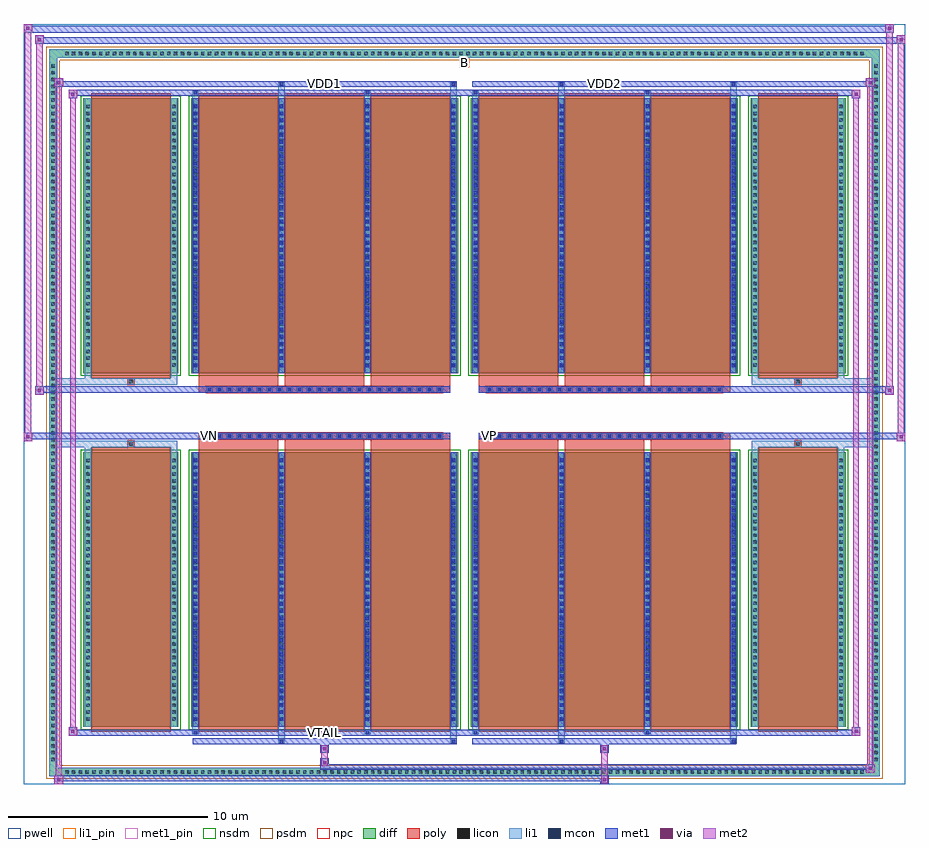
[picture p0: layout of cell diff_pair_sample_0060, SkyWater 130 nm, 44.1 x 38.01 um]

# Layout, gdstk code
import gdstk
lib = gdstk.Library(unit=1e-6, precision=5e-09)
def R(c, l, rs):  # rectangles x0, y0, x1, y1
    for r in rs: c.add(gdstk.rectangle(r[:2], r[2:], *l))
def A(c, l, x, y, w, h, nx, ny, dx, dy):  # array of equal rectangles
    R(c, l, [(x+i*dx, y+j*dy, x+i*dx+w, y+j*dy+h) for i in range(nx) for j in range(ny)])
def P(c, l, *ps):  # polygons
    for p in ps: c.add(gdstk.Polygon(p, *l))
pwell = (64, 44)
diff = (65, 20)
poly = (66, 20)
licon = (66, 44)
li1_pin = (67, 16)
li1 = (67, 20)
mcon = (67, 44)
met1_pin = (68, 16)
met1 = (68, 20)
via = (68, 44)
met2 = (69, 20)
nsdm = (93, 44)
psdm = (94, 20)
npc = (95, 20)

diff_pair_sample_0060 = lib.new_cell('diff_pair_sample_0060')
R(diff_pair_sample_0060, pwell, [(-22.05,-18.57,22.05,19.44), (-19.37,-16.76,-0.01,-0.8), (0.01,-16.76,19.37,-0.8), (-19.37,0.8,-0.01,16.76), (0.01,0.8,19.37,16.76)])
A(diff_pair_sample_0060, diff, -20.095, -18.17, 0.41, 0.41, 118, 2, 0.34, 35.93)
A(diff_pair_sample_0060, diff, -20.78, -17.545, 0.41, 0.41, 1, 103, 0, 0.34)
A(diff_pair_sample_0060, diff, 20.37, -17.545, 0.41, 0.41, 1, 103, 0, 0.34)
R(diff_pair_sample_0060, diff, [(-20.095,-18.17,20.095,-17.76), (-20.78,-17.545,-20.37,17.545), (20.37,-17.545,20.78,17.545), (-19.06,-15.715,-14.31,-1.985), (-13.67,-15.715,-0.32,-1.985), (0.32,-15.715,13.67,-1.985), (14.31,-15.715,19.06,-1.985), (-19.06,1.985,-14.31,15.715), (-13.67,1.985,-0.32,15.715), (0.32,1.985,13.67,15.715), (14.31,1.985,19.06,15.715), (-20.095,17.76,20.095,18.17)])
P(diff_pair_sample_0060, diff, [(20.78,18.17),(-20.78,18.17),(-20.78,-17.76),(-20.37,-17.76),(-20.37,17.76),(20.37,17.76),(20.37,-17.76),(-20.37,-17.76),(-20.78,-17.76),(-20.78,-18.17),(20.78,-18.17)])
A(diff_pair_sample_0060, poly, -13.28, -15.965, 3.97, 14.23, 3, 2, 4.3, 17.7)
A(diff_pair_sample_0060, poly, 0.71, -15.965, 3.97, 14.23, 3, 2, 4.3, 17.7)
A(diff_pair_sample_0060, poly, -13.28, -1.735, 3.97, 0.405, 3, 2, 4.3, 3.065)
A(diff_pair_sample_0060, poly, 0.71, -1.735, 3.97, 0.405, 3, 2, 4.3, 3.065)
A(diff_pair_sample_0060, poly, -12.91, -1.33, 0.33, 0.33, 24, 2, 0.5, 2.33)
A(diff_pair_sample_0060, poly, 1.08, -1.33, 0.33, 0.33, 24, 2, 0.5, 2.33)
R(diff_pair_sample_0060, poly, [(-18.67,-15.965,-14.7,-1.735), (14.7,-15.965,18.67,-1.735), (-16.85,-1.735,-16.52,-1.405), (-16.85,-1.735,-16.52,-1.405), (16.52,-1.735,16.85,-1.405), (16.52,-1.735,16.85,-1.405), (-13.28,-1.33,-0.71,-1), (0.71,-1.33,13.28,-1), (-13.28,1,-0.71,1.33), (0.71,1,13.28,1.33), (-16.85,1.405,-16.52,1.735), (-16.85,1.405,-16.52,1.735), (16.52,1.405,16.85,1.735), (16.52,1.405,16.85,1.735), (-18.67,1.735,-14.7,15.965), (14.7,1.735,18.67,15.965)])
A(diff_pair_sample_0060, licon, -19.975, -18.05, 0.17, 0.17, 118, 2, 0.34, 35.93)
A(diff_pair_sample_0060, licon, -20.66, -17.425, 0.17, 0.17, 1, 103, 0, 0.34)
A(diff_pair_sample_0060, licon, 20.49, -17.425, 0.17, 0.17, 1, 103, 0, 0.34)
A(diff_pair_sample_0060, licon, -18.92, -15.395, 0.17, 0.17, 1, 39, 0, 0.34)
A(diff_pair_sample_0060, licon, -14.62, -15.395, 0.17, 0.17, 1, 39, 0, 0.34)
A(diff_pair_sample_0060, licon, -13.53, -15.395, 0.17, 0.17, 4, 39, 4.3, 0.34)
A(diff_pair_sample_0060, licon, 0.46, -15.395, 0.17, 0.17, 4, 39, 4.3, 0.34)
A(diff_pair_sample_0060, licon, 14.45, -15.395, 0.17, 0.17, 1, 39, 0, 0.34)
A(diff_pair_sample_0060, licon, 18.75, -15.395, 0.17, 0.17, 1, 39, 0, 0.34)
A(diff_pair_sample_0060, licon, -12.83, -1.25, 0.17, 0.17, 24, 2, 0.5, 2.33)
A(diff_pair_sample_0060, licon, 1.16, -1.25, 0.17, 0.17, 24, 2, 0.5, 2.33)
A(diff_pair_sample_0060, licon, -18.92, 2.305, 0.17, 0.17, 1, 39, 0, 0.34)
A(diff_pair_sample_0060, licon, -14.62, 2.305, 0.17, 0.17, 1, 39, 0, 0.34)
A(diff_pair_sample_0060, licon, -13.53, 2.305, 0.17, 0.17, 4, 39, 4.3, 0.34)
A(diff_pair_sample_0060, licon, 0.46, 2.305, 0.17, 0.17, 4, 39, 4.3, 0.34)
A(diff_pair_sample_0060, licon, 14.45, 2.305, 0.17, 0.17, 1, 39, 0, 0.34)
A(diff_pair_sample_0060, licon, 18.75, 2.305, 0.17, 0.17, 1, 39, 0, 0.34)
R(diff_pair_sample_0060, licon, [(-16.77,-1.655,-16.6,-1.485), (16.6,-1.655,16.77,-1.485), (-16.77,1.485,-16.6,1.655), (16.6,1.485,16.77,1.655)])
R(diff_pair_sample_0060, li1_pin, [(-0.25,17.26,0.25,17.76)])
A(diff_pair_sample_0060, li1, -20.055, -18.13, 0.33, 0.33, 118, 2, 0.34, 35.93)
A(diff_pair_sample_0060, li1, -20.74, -17.505, 0.33, 0.33, 1, 103, 0, 0.34)
A(diff_pair_sample_0060, li1, 20.41, -17.505, 0.33, 0.33, 1, 103, 0, 0.34)
A(diff_pair_sample_0060, li1, -13.61, -15.715, 0.33, 13.73, 4, 2, 4.3, 17.7)
A(diff_pair_sample_0060, li1, 0.38, -15.715, 0.33, 13.73, 4, 2, 4.3, 17.7)
A(diff_pair_sample_0060, li1, -19, -15.475, 0.33, 0.33, 1, 39, 0, 0.34)
A(diff_pair_sample_0060, li1, -14.7, -15.475, 0.33, 0.33, 1, 39, 0, 0.34)
A(diff_pair_sample_0060, li1, -13.61, -15.475, 0.33, 0.33, 4, 39, 4.3, 0.34)
A(diff_pair_sample_0060, li1, 0.38, -15.475, 0.33, 0.33, 4, 39, 4.3, 0.34)
A(diff_pair_sample_0060, li1, 14.37, -15.475, 0.33, 0.33, 1, 39, 0, 0.34)
A(diff_pair_sample_0060, li1, 18.67, -15.475, 0.33, 0.33, 1, 39, 0, 0.34)
A(diff_pair_sample_0060, li1, -13.53, -15.415, 0.17, 0.17, 4, 37, 4.3, 0.36)
A(diff_pair_sample_0060, li1, -13.53, -15.415, 0.17, 13.13, 4, 2, 4.3, 17.7)
A(diff_pair_sample_0060, li1, 0.46, -15.415, 0.17, 0.17, 4, 37, 4.3, 0.36)
A(diff_pair_sample_0060, li1, 0.46, -15.415, 0.17, 13.13, 4, 2, 4.3, 17.7)
A(diff_pair_sample_0060, li1, -12.91, -1.33, 0.33, 0.33, 24, 2, 0.5, 2.33)
A(diff_pair_sample_0060, li1, 1.08, -1.33, 0.33, 0.33, 24, 2, 0.5, 2.33)
A(diff_pair_sample_0060, li1, -19, 2.225, 0.33, 0.33, 1, 39, 0, 0.34)
A(diff_pair_sample_0060, li1, -14.7, 2.225, 0.33, 0.33, 1, 39, 0, 0.34)
A(diff_pair_sample_0060, li1, -13.61, 2.225, 0.33, 0.33, 4, 39, 4.3, 0.34)
A(diff_pair_sample_0060, li1, 0.38, 2.225, 0.33, 0.33, 4, 39, 4.3, 0.34)
A(diff_pair_sample_0060, li1, 14.37, 2.225, 0.33, 0.33, 1, 39, 0, 0.34)
A(diff_pair_sample_0060, li1, 18.67, 2.225, 0.33, 0.33, 1, 39, 0, 0.34)
A(diff_pair_sample_0060, li1, -13.53, 2.285, 0.17, 0.17, 4, 37, 4.3, 0.36)
A(diff_pair_sample_0060, li1, 0.46, 2.285, 0.17, 0.17, 4, 37, 4.3, 0.36)
R(diff_pair_sample_0060, li1, [(-20.78,-18.17,-20.37,-17.76), (-20.78,-18.17,-20.37,-17.76), (-20.37,-18.17,20.37,-17.76), (20.37,-18.17,20.78,-17.76), (20.37,-18.17,20.78,-17.76), (-20.78,-17.76,-20.37,17.76), (20.37,-17.76,20.78,17.76), (-9.31,-16.52,-8.98,-15.715), (-9.23,-16.52,-9.06,-16.35), (-0.71,-16.52,-0.38,-15.715), (-0.63,-16.52,-0.46,-16.35), (4.68,-16.52,5.01,-15.715), (4.76,-16.52,4.93,-16.35), (13.28,-16.52,13.61,-15.715), (13.36,-16.52,13.53,-16.35), (-13.61,-16.09,-13.28,-15.715), (-13.53,-16.09,-13.36,-15.92), (-5.01,-16.09,-4.68,-15.715), (-4.93,-16.09,-4.76,-15.92), (0.38,-16.09,0.71,-15.715), (0.46,-16.09,0.63,-15.92), (8.98,-16.09,9.31,-15.715), (9.06,-16.09,9.23,-15.92), (-19,-15.715,-18.67,-1.985), (-14.7,-15.715,-14.37,-1.985), (14.37,-15.715,14.7,-1.985), (18.67,-15.715,19,-1.985), (-19,-1.985,-18.67,-1.405), (-14.7,-1.985,-14.37,-1.405), (14.37,-1.985,14.7,-1.405), (18.67,-1.985,19,-1.405), (-20.78,-1.735,-16.85,-1.405), (-19,-1.735,-16.85,-1.405), (-16.85,-1.735,-16.52,-1.405), (-16.52,-1.735,-14.37,-1.405), (14.37,-1.735,16.52,-1.405), (16.52,-1.735,16.85,-1.405), (16.52,-1.735,20.78,-1.405), (16.85,-1.735,19,-1.405), (-20.78,1.405,-16.85,1.735), (-19,1.405,-16.85,1.735), (-19,1.405,-18.67,1.985), (-16.85,1.405,-16.52,1.735), (-16.52,1.405,-14.37,1.735), (-14.7,1.405,-14.37,1.985), (14.37,1.405,16.52,1.735), (14.37,1.405,14.7,1.985), (16.52,1.405,16.85,1.735), (16.52,1.405,20.78,1.735), (16.85,1.405,19,1.735), (18.67,1.405,19,1.985), (-19,1.985,-18.67,15.715), (-14.7,1.985,-14.37,15.715), (14.37,1.985,14.7,15.715), (18.67,1.985,19,15.715), (-13.61,15.715,-13.28,16.09), (-9.31,15.715,-8.98,16.52), (-5.01,15.715,-4.68,16.09), (-0.71,15.715,-0.38,16.52), (0.38,15.715,0.71,16.09), (4.68,15.715,5.01,16.52), (8.98,15.715,9.31,16.09), (13.28,15.715,13.61,16.52), (-13.53,15.92,-13.36,16.09), (-4.93,15.92,-4.76,16.09), (0.46,15.92,0.63,16.09), (9.06,15.92,9.23,16.09), (-9.23,16.35,-9.06,16.52), (-0.63,16.35,-0.46,16.52), (4.76,16.35,4.93,16.52), (13.36,16.35,13.53,16.52), (-20.78,17.76,-20.37,18.17), (-20.78,17.76,-20.37,18.17), (-20.37,17.76,20.37,18.17), (20.37,17.76,20.78,18.17), (20.37,17.76,20.78,18.17)])
A(diff_pair_sample_0060, mcon, -13.53, -15.415, 0.17, 0.17, 4, 37, 4.3, 0.36)
A(diff_pair_sample_0060, mcon, 0.46, -15.415, 0.17, 0.17, 4, 37, 4.3, 0.36)
A(diff_pair_sample_0060, mcon, -12.83, -1.25, 0.17, 0.17, 24, 2, 0.5, 2.33)
A(diff_pair_sample_0060, mcon, 1.16, -1.25, 0.17, 0.17, 24, 2, 0.5, 2.33)
A(diff_pair_sample_0060, mcon, -13.53, 2.285, 0.17, 0.17, 4, 37, 4.3, 0.36)
A(diff_pair_sample_0060, mcon, 0.46, 2.285, 0.17, 0.17, 4, 37, 4.3, 0.36)
R(diff_pair_sample_0060, mcon, [(-9.23,-16.52,-9.06,-16.35), (-0.63,-16.52,-0.46,-16.35), (4.76,-16.52,4.93,-16.35), (13.36,-16.52,13.53,-16.35), (-13.53,-16.09,-13.36,-15.92), (-4.93,-16.09,-4.76,-15.92), (0.46,-16.09,0.63,-15.92), (9.06,-16.09,9.23,-15.92), (-13.53,15.92,-13.36,16.09), (-4.93,15.92,-4.76,16.09), (0.46,15.92,0.63,16.09), (9.06,15.92,9.23,16.09), (-9.23,16.35,-9.06,16.52), (-0.63,16.35,-0.46,16.52), (4.76,16.35,4.93,16.52), (13.36,16.35,13.53,16.52)])
R(diff_pair_sample_0060, met1_pin, [(-7.13,-16.13,-6.86,-15.86), (-12.88,-1.29,-12.61,-1.02), (1.11,-1.29,1.38,-1.02), (-7.13,16.31,-6.86,16.58), (6.86,16.31,7.13,16.58)])
A(diff_pair_sample_0060, met1, -13.59, -15.715, 0.29, 13.73, 4, 2, 4.3, 17.7)
A(diff_pair_sample_0060, met1, 0.4, -15.715, 0.29, 13.73, 4, 2, 4.3, 17.7)
A(diff_pair_sample_0060, met1, -13.59, -15.475, 0.29, 0.29, 4, 37, 4.3, 0.36)
A(diff_pair_sample_0060, met1, 0.4, -15.475, 0.29, 0.29, 4, 37, 4.3, 0.36)
A(diff_pair_sample_0060, met1, -12.89, -1.31, 0.29, 0.29, 24, 2, 0.5, 2.33)
A(diff_pair_sample_0060, met1, 1.1, -1.31, 0.29, 0.29, 24, 2, 0.5, 2.33)
A(diff_pair_sample_0060, met1, -13.59, 2.225, 0.29, 0.29, 4, 37, 4.3, 0.36)
A(diff_pair_sample_0060, met1, 0.4, 2.225, 0.29, 0.29, 4, 37, 4.3, 0.36)
R(diff_pair_sample_0060, met1, [(-20.51,-18.57,-20.08,-18.14), (6.78,-18.57,7.21,-18.14), (-20.51,-18.43,7.21,-18.14), (20.08,-18,20.51,-17.57), (-7.21,-17.86,20.51,-17.57), (-7.21,-17.72,-6.78,-17.29), (-7.21,-17.01,-6.78,-16.58), (6.78,-17.01,7.21,-16.58), (-13.59,-16.58,-0.4,-16.29), (-9.29,-16.58,-9,-16.29), (-0.69,-16.58,-0.4,-16.29), (0.4,-16.58,13.59,-16.29), (4.7,-16.58,4.99,-16.29), (13.3,-16.58,13.59,-16.29), (-19.8,-16.15,-19.37,-15.72), (-19.8,-16.15,-13.59,-15.86), (-13.59,-16.15,-13.3,-15.86), (-13.59,-16.15,-0.4,-15.86), (-4.99,-16.15,-4.7,-15.86), (-0.4,-16.15,0.4,-15.86), (0.4,-16.15,0.69,-15.86), (0.4,-16.15,13.59,-15.86), (9,-16.15,9.29,-15.86), (13.59,-16.15,19.8,-15.86), (19.37,-16.15,19.8,-15.72), (-22.05,-1.43,-21.62,-1), (21.62,-1.43,22.05,-1), (-22.05,-1.33,-0.71,-1), (-13.28,-1.33,-0.71,-1), (0.71,-1.33,13.28,-1), (0.71,-1.33,22.05,-1), (-21.48,0.9,-21.05,1.33), (21.05,0.9,21.48,1.33), (-21.48,1,-13.28,1.33), (-13.28,1,-0.71,1.33), (0.71,1,13.28,1.33), (13.28,1,21.48,1.33), (-19.8,15.72,-19.37,16.15), (19.37,15.72,19.8,16.15), (-19.8,15.86,-13.59,16.15), (-13.59,15.86,-13.3,16.15), (-13.59,15.86,-0.4,16.15), (-4.99,15.86,-4.7,16.15), (-0.4,15.86,0.4,16.15), (0.4,15.86,0.69,16.15), (0.4,15.86,13.59,16.15), (9,15.86,9.29,16.15), (13.59,15.86,19.8,16.15), (-20.51,16.29,-20.08,16.72), (-20.51,16.29,-13.59,16.58), (-13.59,16.29,-0.4,16.58), (-9.29,16.29,-9,16.58), (-0.69,16.29,-0.4,16.58), (0.4,16.29,13.59,16.58), (4.7,16.29,4.99,16.58), (13.3,16.29,13.59,16.58), (13.59,16.29,20.51,16.58), (20.08,16.29,20.51,16.72), (-21.48,18.44,-21.05,18.87), (-21.48,18.44,-19.37,18.77), (-19.37,18.44,19.37,18.77), (19.37,18.44,22.05,18.77), (21.62,18.44,22.05,18.87), (-22.05,19.01,-21.62,19.44), (-22.05,19.01,-19.37,19.34), (-19.37,19.01,19.37,19.34), (19.37,19.01,21.48,19.34), (21.05,19.01,21.48,19.44)])
R(diff_pair_sample_0060, via, [(-20.37,-18.43,-20.22,-18.28), (6.92,-18.43,7.07,-18.28), (20.22,-17.86,20.37,-17.71), (-7.07,-17.58,-6.92,-17.43), (-7.07,-16.87,-6.92,-16.72), (6.92,-16.87,7.07,-16.72), (-19.66,-16.01,-19.51,-15.86), (19.51,-16.01,19.66,-15.86), (-21.91,-1.29,-21.76,-1.14), (21.76,-1.29,21.91,-1.14), (-21.34,1.04,-21.19,1.19), (21.19,1.04,21.34,1.19), (-19.66,15.86,-19.51,16.01), (19.51,15.86,19.66,16.01), (-20.37,16.43,-20.22,16.58), (20.22,16.43,20.37,16.58), (-21.34,18.58,-21.19,18.73), (21.76,18.58,21.91,18.73), (-21.91,19.15,-21.76,19.3), (21.19,19.15,21.34,19.3)])
R(diff_pair_sample_0060, met2, [(-20.51,-18.57,-20.08,-18.14), (-20.44,-18.57,-20.15,16.72), (-20.15,-18.57,-20.08,-18.14), (-20.46,-18.52,-20.13,-18.19), (6.83,-18.52,7.16,-18.19), (6.83,-18.19,7.16,-16.96), (20.08,-18,20.51,-17.57), (20.15,-18,20.44,16.72), (20.44,-18,20.51,-17.57), (20.13,-17.95,20.46,-17.62), (-7.16,-17.67,-6.83,-17.34), (-7.16,-17.34,-6.83,-16.96), (-7.16,-16.96,-6.83,-16.63), (6.83,-16.96,7.16,-16.63), (-19.8,-16.15,-19.37,-15.72), (-19.73,-16.15,-19.44,16.15), (-19.44,-16.15,-19.37,-15.72), (19.37,-16.15,19.8,-15.72), (19.44,-16.15,19.73,16.15), (19.73,-16.15,19.8,-15.72), (-19.75,-16.1,-19.42,-15.77), (19.42,-16.1,19.75,-15.77), (-22.05,-1.43,-21.62,-1), (-22,-1.43,-21.67,19.44), (-21.67,-1.43,-21.62,-1), (21.62,-1.43,22.05,-1), (21.67,-1.43,22,18.87), (22,-1.43,22.05,-1), (-22,-1.38,-21.67,-1.05), (21.67,-1.38,22,-1.05), (-21.48,0.9,-21.05,1.33), (-21.43,0.9,-21.1,18.87), (-21.1,0.9,-21.05,1.33), (21.05,0.9,21.48,1.33), (21.1,0.9,21.43,19.44), (21.43,0.9,21.48,1.33), (-21.43,0.95,-21.1,1.28), (21.1,0.95,21.43,1.28), (-19.8,15.72,-19.37,16.15), (-19.44,15.72,-19.37,16.15), (19.37,15.72,19.8,16.15), (19.73,15.72,19.8,16.15), (-19.75,15.77,-19.42,16.1), (19.42,15.77,19.75,16.1), (-20.51,16.29,-20.08,16.72), (-20.15,16.29,-20.08,16.72), (20.08,16.29,20.51,16.72), (20.44,16.29,20.51,16.72), (-20.46,16.34,-20.13,16.67), (20.13,16.34,20.46,16.67), (-21.48,18.44,-21.05,18.87), (-21.1,18.44,-21.05,18.87), (21.62,18.44,22.05,18.87), (22,18.44,22.05,18.87), (-21.43,18.49,-21.1,18.82), (21.67,18.49,22,18.82), (-22.05,19.01,-21.62,19.44), (-21.67,19.01,-21.62,19.44), (21.05,19.01,21.48,19.44), (21.43,19.01,21.48,19.44), (-22,19.06,-21.67,19.39), (21.1,19.06,21.43,19.39)])
R(diff_pair_sample_0060, nsdm, [(-19.19,-15.845,-14.18,-1.855), (-13.8,-15.845,-0.19,-1.855), (0.19,-15.845,13.8,-1.855), (14.18,-15.845,19.19,-1.855), (-19.19,1.855,-14.18,15.845), (-13.8,1.855,-0.19,15.845), (0.19,1.855,13.8,15.845), (14.18,1.855,19.19,15.845)])
P(diff_pair_sample_0060, psdm, [(20.91,18.3),(-20.91,18.3),(-20.91,-17.63),(-20.24,-17.63),(-20.24,17.63),(20.24,17.63),(20.24,-17.63),(-20.24,-17.63),(-20.91,-17.63),(-20.91,-18.3),(20.91,-18.3)])
A(diff_pair_sample_0060, npc, -12.93, -1.35, 0.37, 0.37, 24, 2, 0.5, 2.33)
A(diff_pair_sample_0060, npc, 1.06, -1.35, 0.37, 0.37, 24, 2, 0.5, 2.33)
R(diff_pair_sample_0060, npc, [(-16.87,-1.755,-16.5,-1.385), (16.5,-1.755,16.87,-1.385), (-12.93,-1.35,-12.06,-0.98), (-12.93,-1.35,-12.06,-0.98), (-12.43,-1.35,-11.56,-0.98), (-12.43,-1.35,-11.56,-0.98), (-11.93,-1.35,-11.06,-0.98), (-11.93,-1.35,-11.06,-0.98), (-11.43,-1.35,-10.56,-0.98), (-11.43,-1.35,-10.56,-0.98), (-10.93,-1.35,-10.06,-0.98), (-10.93,-1.35,-10.06,-0.98), (-10.43,-1.35,-9.56,-0.98), (-10.43,-1.35,-9.56,-0.98), (-9.93,-1.35,-9.06,-0.98), (-9.93,-1.35,-9.06,-0.98), (-9.43,-1.35,-8.56,-0.98), (-9.43,-1.35,-8.56,-0.98), (-8.93,-1.35,-8.06,-0.98), (-8.93,-1.35,-8.06,-0.98), (-8.43,-1.35,-7.56,-0.98), (-8.43,-1.35,-7.56,-0.98), (-7.93,-1.35,-7.06,-0.98), (-7.93,-1.35,-7.06,-0.98), (-7.43,-1.35,-6.56,-0.98), (-7.43,-1.35,-6.56,-0.98), (-6.93,-1.35,-6.06,-0.98), (-6.93,-1.35,-6.06,-0.98), (-6.43,-1.35,-5.56,-0.98), (-6.43,-1.35,-5.56,-0.98), (-5.93,-1.35,-5.06,-0.98), (-5.93,-1.35,-5.06,-0.98), (-5.43,-1.35,-4.56,-0.98), (-5.43,-1.35,-4.56,-0.98), (-4.93,-1.35,-4.06,-0.98), (-4.93,-1.35,-4.06,-0.98), (-4.43,-1.35,-3.56,-0.98), (-4.43,-1.35,-3.56,-0.98), (-3.93,-1.35,-3.06,-0.98), (-3.93,-1.35,-3.06,-0.98), (-3.43,-1.35,-2.56,-0.98), (-3.43,-1.35,-2.56,-0.98), (-2.93,-1.35,-2.06,-0.98), (-2.93,-1.35,-2.06,-0.98), (-2.43,-1.35,-1.56,-0.98), (-2.43,-1.35,-1.56,-0.98), (-1.93,-1.35,-1.06,-0.98), (-1.93,-1.35,-1.06,-0.98), (1.06,-1.35,1.93,-0.98), (1.06,-1.35,1.93,-0.98), (1.56,-1.35,2.43,-0.98), (1.56,-1.35,2.43,-0.98), (2.06,-1.35,2.93,-0.98), (2.06,-1.35,2.93,-0.98), (2.56,-1.35,3.43,-0.98), (2.56,-1.35,3.43,-0.98), (3.06,-1.35,3.93,-0.98), (3.06,-1.35,3.93,-0.98), (3.56,-1.35,4.43,-0.98), (3.56,-1.35,4.43,-0.98), (4.06,-1.35,4.93,-0.98), (4.06,-1.35,4.93,-0.98), (4.56,-1.35,5.43,-0.98), (4.56,-1.35,5.43,-0.98), (5.06,-1.35,5.93,-0.98), (5.06,-1.35,5.93,-0.98), (5.56,-1.35,6.43,-0.98), (5.56,-1.35,6.43,-0.98), (6.06,-1.35,6.93,-0.98), (6.06,-1.35,6.93,-0.98), (6.56,-1.35,7.43,-0.98), (6.56,-1.35,7.43,-0.98), (7.06,-1.35,7.93,-0.98), (7.06,-1.35,7.93,-0.98), (7.56,-1.35,8.43,-0.98), (7.56,-1.35,8.43,-0.98), (8.06,-1.35,8.93,-0.98), (8.06,-1.35,8.93,-0.98), (8.56,-1.35,9.43,-0.98), (8.56,-1.35,9.43,-0.98), (9.06,-1.35,9.93,-0.98), (9.06,-1.35,9.93,-0.98), (9.56,-1.35,10.43,-0.98), (9.56,-1.35,10.43,-0.98), (10.06,-1.35,10.93,-0.98), (10.06,-1.35,10.93,-0.98), (10.56,-1.35,11.43,-0.98), (10.56,-1.35,11.43,-0.98), (11.06,-1.35,11.93,-0.98), (11.06,-1.35,11.93,-0.98), (11.56,-1.35,12.43,-0.98), (11.56,-1.35,12.43,-0.98), (12.06,-1.35,12.93,-0.98), (12.06,-1.35,12.93,-0.98), (-12.93,0.98,-12.06,1.35), (-12.93,0.98,-12.06,1.35), (-12.43,0.98,-11.56,1.35), (-12.43,0.98,-11.56,1.35), (-11.93,0.98,-11.06,1.35), (-11.93,0.98,-11.06,1.35), (-11.43,0.98,-10.56,1.35), (-11.43,0.98,-10.56,1.35), (-10.93,0.98,-10.06,1.35), (-10.93,0.98,-10.06,1.35), (-10.43,0.98,-9.56,1.35), (-10.43,0.98,-9.56,1.35), (-9.93,0.98,-9.06,1.35), (-9.93,0.98,-9.06,1.35), (-9.43,0.98,-8.56,1.35), (-9.43,0.98,-8.56,1.35), (-8.93,0.98,-8.06,1.35), (-8.93,0.98,-8.06,1.35), (-8.43,0.98,-7.56,1.35), (-8.43,0.98,-7.56,1.35), (-7.93,0.98,-7.06,1.35), (-7.93,0.98,-7.06,1.35), (-7.43,0.98,-6.56,1.35), (-7.43,0.98,-6.56,1.35), (-6.93,0.98,-6.06,1.35), (-6.93,0.98,-6.06,1.35), (-6.43,0.98,-5.56,1.35), (-6.43,0.98,-5.56,1.35), (-5.93,0.98,-5.06,1.35), (-5.93,0.98,-5.06,1.35), (-5.43,0.98,-4.56,1.35), (-5.43,0.98,-4.56,1.35), (-4.93,0.98,-4.06,1.35), (-4.93,0.98,-4.06,1.35), (-4.43,0.98,-3.56,1.35), (-4.43,0.98,-3.56,1.35), (-3.93,0.98,-3.06,1.35), (-3.93,0.98,-3.06,1.35), (-3.43,0.98,-2.56,1.35), (-3.43,0.98,-2.56,1.35), (-2.93,0.98,-2.06,1.35), (-2.93,0.98,-2.06,1.35), (-2.43,0.98,-1.56,1.35), (-2.43,0.98,-1.56,1.35), (-1.93,0.98,-1.06,1.35), (-1.93,0.98,-1.06,1.35), (1.06,0.98,1.93,1.35), (1.06,0.98,1.93,1.35), (1.56,0.98,2.43,1.35), (1.56,0.98,2.43,1.35), (2.06,0.98,2.93,1.35), (2.06,0.98,2.93,1.35), (2.56,0.98,3.43,1.35), (2.56,0.98,3.43,1.35), (3.06,0.98,3.93,1.35), (3.06,0.98,3.93,1.35), (3.56,0.98,4.43,1.35), (3.56,0.98,4.43,1.35), (4.06,0.98,4.93,1.35), (4.06,0.98,4.93,1.35), (4.56,0.98,5.43,1.35), (4.56,0.98,5.43,1.35), (5.06,0.98,5.93,1.35), (5.06,0.98,5.93,1.35), (5.56,0.98,6.43,1.35), (5.56,0.98,6.43,1.35), (6.06,0.98,6.93,1.35), (6.06,0.98,6.93,1.35), (6.56,0.98,7.43,1.35), (6.56,0.98,7.43,1.35), (7.06,0.98,7.93,1.35), (7.06,0.98,7.93,1.35), (7.56,0.98,8.43,1.35), (7.56,0.98,8.43,1.35), (8.06,0.98,8.93,1.35), (8.06,0.98,8.93,1.35), (8.56,0.98,9.43,1.35), (8.56,0.98,9.43,1.35), (9.06,0.98,9.93,1.35), (9.06,0.98,9.93,1.35), (9.56,0.98,10.43,1.35), (9.56,0.98,10.43,1.35), (10.06,0.98,10.93,1.35), (10.06,0.98,10.93,1.35), (10.56,0.98,11.43,1.35), (10.56,0.98,11.43,1.35), (11.06,0.98,11.93,1.35), (11.06,0.98,11.93,1.35), (11.56,0.98,12.43,1.35), (11.56,0.98,12.43,1.35), (12.06,0.98,12.93,1.35), (12.06,0.98,12.93,1.35), (-16.87,1.385,-16.5,1.755), (16.5,1.385,16.87,1.755)])
diff_pair_sample_0060.add(gdstk.Label('VTAIL', (-6.995,-15.995), layer=68, texttype=5))
diff_pair_sample_0060.add(gdstk.Label('VN', (-12.745,-1.155), layer=68, texttype=5))
diff_pair_sample_0060.add(gdstk.Label('VP', (1.245,-1.155), layer=68, texttype=5))
diff_pair_sample_0060.add(gdstk.Label('B', (0,17.51), layer=67, texttype=5))
diff_pair_sample_0060.add(gdstk.Label('VDD2', (6.995,16.445), layer=68, texttype=5))
diff_pair_sample_0060.add(gdstk.Label('VDD1', (-6.995,16.445), layer=68, texttype=5))

lib.write_gds('diff_pair_sample_0060.gds')
